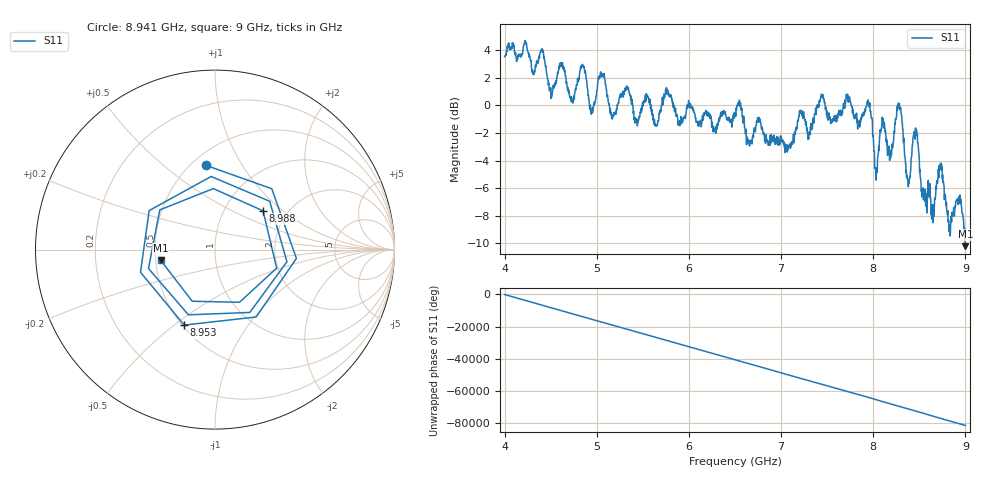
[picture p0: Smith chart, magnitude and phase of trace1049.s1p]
! Created with skrf 1.8.0 (http://scikit-rf.org).
# Hz S RI R 50.0
!freq ReS11 ImS11
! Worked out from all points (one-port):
!   1601 points, 4 GHz to 9 GHz, reference 50 ohm
!   lowest |S11| = -10.2 dB at 9 GHz (marker M1), VSWR 1.89, Z = 26.6 - j3.51 ohm
!   |S11| at or under -10 dB: 8.996409 GHz to end of sweep
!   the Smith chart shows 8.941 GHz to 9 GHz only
!   S11 on the Smith chart (normalised r, x): 8.941 GHz: 0.58, +0.71; 8.953 GHz: 0.51, -0.54; 8.988 GHz: 1.51, +0.74; 9 GHz: 0.53, -0.07
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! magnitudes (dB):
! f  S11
! 4 GHz  3.6
! 4.406 GHz  4.1
! 4.509 GHz  0.6
! 4.625 GHz  3.0
! 4.731 GHz  0.4
! 4.841 GHz  3.0
! 4.941 GHz  -0.6
! 5.05 GHz  2.2
! 5.162 GHz  -0.9
! 5.25 GHz  0.7
! 5.875 GHz  -0.8
! 6.5 GHz  -0.5
! 7.125 GHz  -2.8
! 7.441 GHz  0.7
! 7.75 GHz  0.3
! 7.953 GHz  0.1
! 8.031 GHz  -5.4
! 8.281 GHz  0.0
! 8.375 GHz  -5.4
! 8.456 GHz  -1.8
! 8.562 GHz  -6.1
! 8.653 GHz  -7.3
! 8.728 GHz  -4.3
! 8.825 GHz  -9.0
! 8.941 GHz  -6.5
! 8.953 GHz  -6.9
! 8.988 GHz  -9.3
! 9 GHz  -10.2
